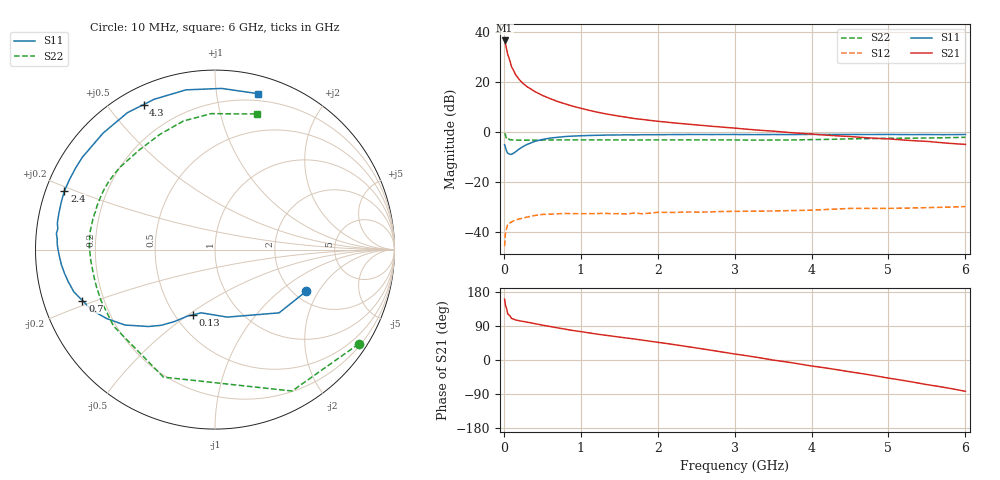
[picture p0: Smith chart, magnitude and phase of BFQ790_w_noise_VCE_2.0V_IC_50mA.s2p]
! Infineon Technologies  Discrete & RF Semiconductors
! BFQ790
! VCE =  2.0 V,  IC =  50 mA
! Common Emitter S-Parameters:  May 2015
# GHz  S  MA  R  50
!  f  S11  S21  S12  S22
! GHz  MAG  ANG  MAG  ANG  MAG  ANG  MAG  ANG
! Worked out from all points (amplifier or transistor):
!   77 points, 10 MHz to 6 GHz, reference 50 ohm
!   highest |S21| = 36.8 dB at 10 MHz (marker M1)
!   |S21| within 3 dB of that: start of sweep to 32.79 MHz
!   unconditionally stable (mu >= 1): 1.459 GHz to end of sweep
!   at 130 MHz: K = 0.68, MSG = 30.0 dB, |S12| = -35.5 dB
!   at 2.2 GHz: K = 1.12, MAG = 15.8 dB, |S12| = -32.2 dB
!   at 6 GHz: K = 1.65, MAG = 7.8 dB, |S12| = -29.8 dB
!   lowest NFmin = 2.29 dB at 900 MHz
!   S11 on the Smith chart (normalised r, x): 10 MHz: 2.34, -1.57; 130 MHz: 0.61, -0.52; 700 MHz: 0.12, -0.18; 2.4 GHz: 0.05, +0.19; 4.3 GHz: 0.07, +0.62; 6 GHz: 0.14, +1.30
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0.01  0.5593 -24.4  69.06 160.9  0.0052 72.4  0.9579 -33.3
0.02  0.5018 -44.6  59.99 145.3  0.0092 55.5  0.8974 -61.4
0.05  0.3822 -79.7  36.26 121.5  0.0144 31.7  0.7664 -112.0
0.1  0.3606 -102.3  20.49 109.7  0.0159 19.5  0.7079 -143.0
0.13  0.3842 -108.8  16.86 107.7  0.0168 20.0  0.6965 -150.5
0.15  0.4024 -112.7  14.46 105.9  0.0174 20.3  0.6956 -155.5
0.2  0.461 -119.5  11.38 103.5  0.0182 19.2  0.6923 -162.3
0.25  0.5173 -125.4  9.499 101.8  0.019 15.8  0.6912 -166.7
0.3  0.567 -130.9  8.194 99.9  0.0199 12.9  0.6913 -169.9
0.4  0.6541 -140.0  6.562 96.0  0.0214 12.4  0.6944 -174.6
0.5  0.7152 -147.5  5.48 92.1  0.0225 8.5  0.6964 -178.0
0.7  0.7915 -159.0  4.125 84.7  0.0232 5.9  0.7007 177.0
0.9  0.8363 -167.5  3.308 77.8  0.0234 0.4  0.7016 173.3
1.1  0.8594 -174.2  2.765 71.8  0.0233 -2.7  0.7018 170.2
1.5  0.8813 176.1  2.097 60.5  0.0233 -5.2  0.6998 164.9
2.1  0.8942 164.8  1.6 44.0  0.0247 -11.3  0.701 156.6
2.4  0.9006 158.7  1.448 34.9  0.0252 -14.7  0.703 151.5
3.1  0.8977 142.9  1.171 13.0  0.026 -22.5  0.6974 136.5
4.1  0.9027 120.5  0.895 -18.6  0.0278 -32.4  0.7141 113.3
4.3  0.9006 116.2  0.852 -24.6  0.0287 -34.9  0.7235 108.5
5.1  0.8999 97.8  0.715 -50.9  0.0299 -47.0  0.7574 89.3
6  0.9009 74.7  0.571 -82.6  0.0323 -62.4  0.7909 72.9
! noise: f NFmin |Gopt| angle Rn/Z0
0.45  2.98  0.32  115  0.35
0.9  2.29  0.47  157  0.14
1.5  2.29  0.63  -179  0.07
1.8  2.5  0.66  -173  0.07
2.6  3.16  0.72  -155  0.19
3.5  3.95  0.82  -137  0.51
